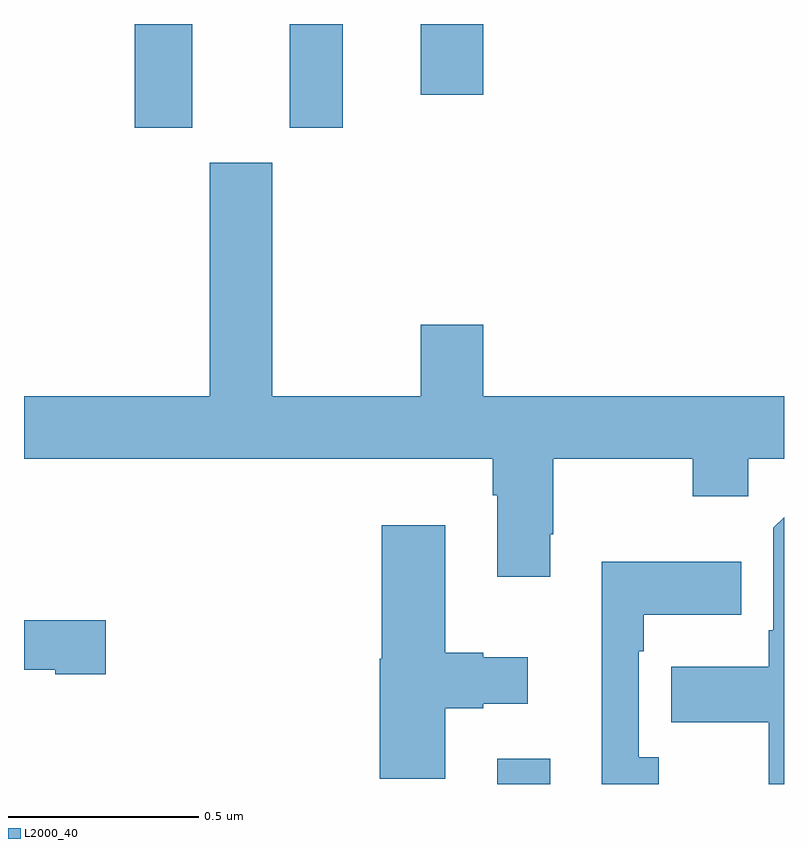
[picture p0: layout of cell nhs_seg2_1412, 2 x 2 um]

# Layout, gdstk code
import gdstk
lib = gdstk.Library(unit=1e-6, precision=1e-09)
def R(c, l, rs):  # rectangles x0, y0, x1, y1
    for r in rs: c.add(gdstk.rectangle(r[:2], r[2:], *l))
def P(c, l, *ps):  # polygons
    for p in ps: c.add(gdstk.Polygon(p, *l))
L2000_40 = (2000, 40)

nhs_seg2_1412 = lib.new_cell('nhs_seg2_1412')
R(nhs_seg2_1412, L2000_40, [(129.245,626.8,129.385,626.866), (128.291,628.527,128.443,628.8), (128.699,628.527,128.839,628.8), (129.044,628.614,129.208,628.8)])
P(nhs_seg2_1412, L2000_40, [(129.385,627.457),(129.393,627.457),(129.393,627.656),(129.76,627.656),(129.76,627.557),(129.906,627.557),(129.906,627.656),(130,627.656),(130,627.82),(129.208,627.82),(129.208,628.009),(129.044,628.009),(129.044,627.82),(128.653,627.82),(128.653,628.435),(128.489,628.435),(128.489,627.82),(128,627.82),(128,627.656),(129.233,627.656),(129.233,627.56),(129.245,627.56),(129.245,627.345),(129.385,627.345)],
  [(130,627.502),(129.972,627.474),(129.972,627.205),(129.96,627.205),(129.96,627.109),(129.703,627.109),(129.703,626.962),(129.96,626.962),(129.96,626.8),(130,626.8)],
  [(129.109,626.999),(129.209,626.999),(129.209,627.011),(129.325,627.011),(129.325,627.133),(129.209,627.133),(129.209,627.146),(129.109,627.146),(129.109,627.481),(128.942,627.481),(128.942,627.129),(128.936,627.129),(128.936,626.814),(129.109,626.814)],
  [(129.67,626.87),(129.618,626.87),(129.618,627.149),(129.631,627.149),(129.631,627.245),(129.887,627.245),(129.887,627.385),(129.521,627.385),(129.521,626.8),(129.67,626.8)],
  [(128.215,627.231),(128,627.231),(128,627.101),(128.082,627.101),(128.082,627.089),(128.215,627.089)])

lib.write_gds('nhs_seg2_1412.gds')
